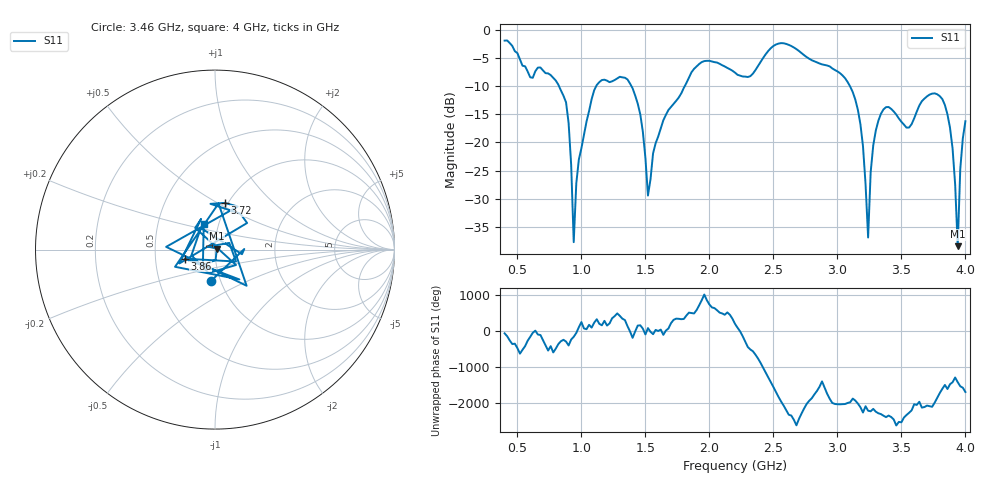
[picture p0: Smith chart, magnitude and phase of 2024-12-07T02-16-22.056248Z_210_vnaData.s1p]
!Created with skrf (http://scikit-rf.org).
# Hz S RI R 50.0
!freq ReS11 ImS11
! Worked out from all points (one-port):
!   181 points, 400 MHz to 4 GHz, reference 50 ohm
!   lowest |S11| = -38.4 dB at 3.94 GHz (marker M1), VSWR 1.02, Z = 51.1 + j0.559 ohm
!   |S11| at or under -10 dB: 824.8 MHz to 1.116 GHz (290.9 MHz wide, 30 % of centre); 1.391 GHz to 1.807 GHz (416.8 MHz wide, 26.1 % of centre); 3.098 GHz to end of sweep
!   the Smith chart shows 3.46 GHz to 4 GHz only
!   S11 on the Smith chart (normalised r, x): 3.46 GHz: 0.90, -0.33; 3.72 GHz: 0.97, +0.54; 3.86 GHz: 0.71, -0.07; 4 GHz: 0.85, +0.25
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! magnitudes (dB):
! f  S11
! 400 MHz  -1.9
! 860 MHz  -11.7
! 900 MHz  -16.5
! 920 MHz  -24.0
! 940 MHz  -37.7
! 980 MHz  -23.0
! 1.08 GHz  -12.3
! 1.3 GHz  -8.3
! 1.46 GHz  -15.0
! 1.52 GHz  -29.4
! 1.58 GHz  -20.1
! 1.76 GHz  -12.0
! 1.94 GHz  -5.7
! 2.2 GHz  -7.6
! 2.66 GHz  -3.1
! 3.1 GHz  -10.1
! 3.18 GHz  -16.8
! 3.24 GHz  -36.9
! 3.26 GHz  -25.3
! 3.3 GHz  -17.9
! 3.46 GHz  -15.1
! 3.56 GHz  -17.4
! 3.72 GHz  -11.5
! 3.86 GHz  -15.0
! 3.9 GHz  -21.1
! 3.94 GHz  -38.4
! 3.96 GHz  -24.7
! 4 GHz  -16.2
